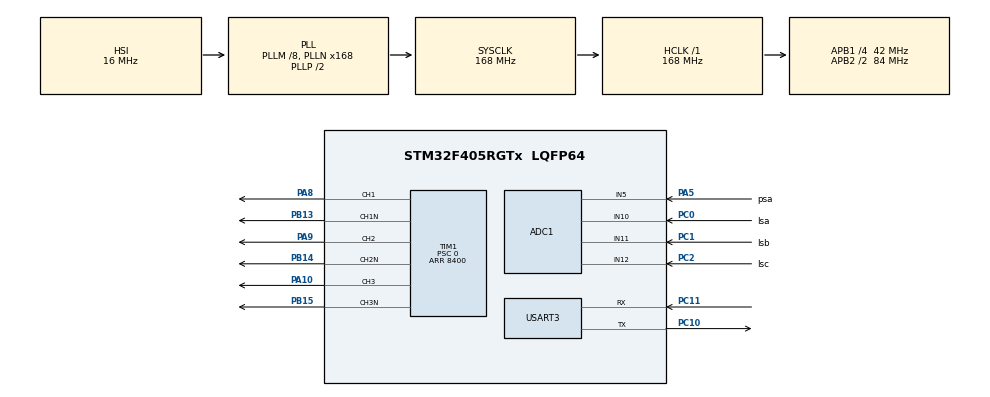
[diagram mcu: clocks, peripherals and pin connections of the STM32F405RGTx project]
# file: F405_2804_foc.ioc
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ADC1.Channel-0\#ChannelRegularConversion=ADC_CHANNEL_10
ADC1.Channel-1\#ChannelInjectedConversion=ADC_CHANNEL_5
ADC1.Channel-2\#ChannelInjectedConversion=ADC_CHANNEL_10
ADC1.Channel-3\#ChannelInjectedConversion=ADC_CHANNEL_11
ADC1.Channel-4\#ChannelInjectedConversion=ADC_CHANNEL_12
ADC1.ExternalTrigInjecConv=ADC_EXTERNALTRIGINJECCONV_T1_CC4
ADC1.ExternalTrigInjecConvEdge=ADC_EXTERNALTRIGINJECCONVEDGE_FALLING
ADC1.InjNumberOfConversion=4
ADC1.InjectedOffset-1\#ChannelInjectedConversion=0
ADC1.InjectedOffset-2\#ChannelInjectedConversion=0
ADC1.InjectedOffset-3\#ChannelInjectedConversion=0
ADC1.InjectedOffset-4\#ChannelInjectedConversion=0
ADC1.InjectedRank-1\#ChannelInjectedConversion=1
ADC1.InjectedRank-2\#ChannelInjectedConversion=2
ADC1.InjectedRank-3\#ChannelInjectedConversion=3
ADC1.InjectedRank-4\#ChannelInjectedConversion=4
ADC1.NbrOfConversionFlag=1
ADC1.Rank-0\#ChannelRegularConversion=1
ADC1.SamplingTime-0\#ChannelRegularConversion=ADC_SAMPLETIME_3CYCLES
ADC1.SamplingTime-1\#ChannelInjectedConversion=ADC_SAMPLETIME_480CYCLES
ADC1.SamplingTime-2\#ChannelInjectedConversion=ADC_SAMPLETIME_15CYCLES
ADC1.SamplingTime-3\#ChannelInjectedConversion=ADC_SAMPLETIME_15CYCLES
ADC1.SamplingTime-4\#ChannelInjectedConversion=ADC_SAMPLETIME_15CYCLES
ADC1.master=1
Dma.Request0=USART3_RX
Dma.Request1=USART3_TX
Dma.USART3_RX.0.Direction=DMA_PERIPH_TO_MEMORY
Dma.USART3_RX.0.FIFOMode=DMA_FIFOMODE_DISABLE
Dma.USART3_RX.0.Instance=DMA1_Stream1
Dma.USART3_RX.0.MemDataAlignment=DMA_MDATAALIGN_BYTE
Dma.USART3_RX.0.MemInc=DMA_MINC_ENABLE
Dma.USART3_RX.0.Mode=DMA_NORMAL
Dma.USART3_RX.0.PeriphDataAlignment=DMA_PDATAALIGN_BYTE
Dma.USART3_RX.0.PeriphInc=DMA_PINC_DISABLE
Dma.USART3_RX.0.Priority=DMA_PRIORITY_LOW
Dma.USART3_TX.1.Direction=DMA_MEMORY_TO_PERIPH
Dma.USART3_TX.1.FIFOMode=DMA_FIFOMODE_DISABLE
Dma.USART3_TX.1.Instance=DMA1_Stream3
Dma.USART3_TX.1.MemDataAlignment=DMA_MDATAALIGN_BYTE
Dma.USART3_TX.1.MemInc=DMA_MINC_ENABLE
Dma.USART3_TX.1.Mode=DMA_NORMAL
Dma.USART3_TX.1.PeriphDataAlignment=DMA_PDATAALIGN_BYTE
Dma.USART3_TX.1.PeriphInc=DMA_PINC_DISABLE
Dma.USART3_TX.1.Priority=DMA_PRIORITY_LOW
Mcu.Family=STM32F4
Mcu.Name=STM32F405RGTx
Mcu.Package=LQFP64
NVIC.ADC_IRQn=true\:0\:0\:false\:false\:true\:true\:true\:true
NVIC.DMA1_Stream1_IRQn=true\:0\:0\:false\:false\:true\:false\:true\:true
NVIC.DMA1_Stream3_IRQn=true\:0\:0\:false\:false\:true\:false\:true\:true
NVIC.PriorityGroup=NVIC_PRIORITYGROUP_4
NVIC.USART3_IRQn=true\:0\:0\:false\:false\:true\:false\:true\:true
PA10.Signal=S_TIM1_CH3
PA13.Mode=Serial_Wire
PA13.Signal=SYS_JTMS-SWDIO
PA14.Mode=Serial_Wire
PA14.Signal=SYS_JTCK-SWCLK
PA5.GPIO_Label=psa
PA5.Signal=ADCx_IN5
PA8.Signal=S_TIM1_CH1
PA9.Signal=S_TIM1_CH2
PB13.Mode=PWM Generation1 CH1 CH1N
PB13.Signal=TIM1_CH1N
PB14.Mode=PWM Generation2 CH2 CH2N
PB14.Signal=TIM1_CH2N
PB15.Mode=PWM Generation3 CH3 CH3N
PB15.Signal=TIM1_CH3N
PC0.GPIO_Label=Isa
PC0.Signal=ADCx_IN10
PC1.GPIO_Label=Isb
PC1.Signal=ADCx_IN11
PC10.Mode=Asynchronous
PC10.Signal=USART3_TX
PC11.Mode=Asynchronous
PC11.Signal=USART3_RX
PC14-OSC32_IN.Mode=LSE-External-Oscillator
PC14-OSC32_IN.Signal=RCC_OSC32_IN
PC15-OSC32_OUT.Mode=LSE-External-Oscillator
PC15-OSC32_OUT.Signal=RCC_OSC32_OUT
PC2.GPIO_Label=Isc
PC2.Signal=ADCx_IN12
PH0-OSC_IN.Mode=HSE-External-Oscillator
PH0-OSC_IN.Signal=RCC_OSC_IN
PH1-OSC_OUT.Mode=HSE-External-Oscillator
PH1-OSC_OUT.Signal=RCC_OSC_OUT
ProjectManager.HeapSize=0x200
ProjectManager.StackSize=0x400
ProjectManager.TargetToolchain=MDK-ARM V5.32
RCC.48MHZClocksFreq_Value=84000000
RCC.AHBFreq_Value=168000000
RCC.APB1CLKDivider=RCC_HCLK_DIV4
RCC.APB1Freq_Value=42000000
RCC.APB1TimFreq_Value=84000000
RCC.APB2CLKDivider=RCC_HCLK_DIV2
RCC.APB2Freq_Value=84000000
RCC.APB2TimFreq_Value=168000000
RCC.CortexFreq_Value=168000000
RCC.HCLKFreq_Value=168000000
RCC.HSE_VALUE=8000000
RCC.HSI_VALUE=16000000
RCC.PLLM=8
RCC.PLLN=168
RCC.SYSCLKFreq_VALUE=168000000
RCC.SYSCLKSource=RCC_SYSCLKSOURCE_PLLCLK
RCC.VCOOutputFreq_Value=336000000
SH.ADCx_IN10.0=ADC1_IN10,IN10
SH.ADCx_IN11.0=ADC1_IN11,IN11
SH.ADCx_IN12.0=ADC1_IN12,IN12
SH.ADCx_IN5.0=ADC1_IN5,IN5
SH.S_TIM1_CH1.0=TIM1_CH1,PWM Generation1 CH1 CH1N
SH.S_TIM1_CH2.0=TIM1_CH2,PWM Generation2 CH2 CH2N
SH.S_TIM1_CH3.0=TIM1_CH3,PWM Generation3 CH3 CH3N
STMicroelectronics.X-CUBE-ALGOBUILD.1.5.0.LibraryCcDSPOoLibraryJjDSPOoLibrary=true
TIM1.AutoReloadPreload=TIM_AUTORELOAD_PRELOAD_ENABLE
TIM1.Channel-PWM\ Generation1\ CH1\ CH1N=TIM_CHANNEL_1
TIM1.Channel-PWM\ Generation2\ CH2\ CH2N=TIM_CHANNEL_2
TIM1.Channel-PWM\ Generation3\ CH3\ CH3N=TIM_CHANNEL_3
TIM1.Channel-PWM\ Generation4\ No\ Output=TIM_CHANNEL_4
TIM1.CounterMode=TIM_COUNTERMODE_CENTERALIGNED1
TIM1.Period=8400
TIM1.Prescaler=0
TIM1.Pulse-PWM\ Generation4\ No\ Output=8300
TIM1.TIM_MasterOutputTrigger=TIM_TRGO_OC4REF
TIM2.AutoReloadPreload=TIM_AUTORELOAD_PRELOAD_ENABLE
TIM2.Period=0xffffffff
TIM2.Prescaler=84-1
USART3.VirtualMode=VM_ASYNC
VP_STMicroelectronics.X-CUBE-ALGOBUILD_VS_DSPOoLibraryJjLibrary_1.5.0_1.5.0.Mode=DSPOoLibraryJjLibrary
VP_TIM1_VS_ClockSourceINT.Mode=Internal
VP_TIM1_VS_no_output4.Mode=PWM Generation4 No Output
VP_TIM2_VS_ClockSourceINT.Mode=Internal
board=custom

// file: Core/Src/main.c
/* USER CODE BEGIN Header */
/**
  ******************************************************************************
  * @file           : main.c
  * @brief          : Main program body
  ******************************************************************************
  * @attention
  *
  * Copyright (c) 2026 STMicroelectronics.
  * All rights reserved.
  *
  * This software is licensed under terms that can be found in the LICENSE file
  * in the root directory of this software component.
  * If no LICENSE file comes with this software, it is provided AS-IS.
  *
  ******************************************************************************
  */
/* USER CODE END Header */
#include "main.h"
#include "adc.h"
#include "dma.h"
#include "tim.h"
#include "usart.h"
#include "gpio.h"

/* USER CODE BEGIN Includes */

#include "adc_sa.h"
#include "uart_TR.h"
#include "foc_cal.h"

#include "arm_math.h"
/* USER CODE END Includes */

/* USER CODE BEGIN PTD */

SystemState_t system_state=IDLE;
/* USER CODE END PTD */

/* USER CODE BEGIN PV */
static uint32_t last_send_time = 0;
static uint32_t current_time = 0;

float theta_m2e_sum_raw=0;
static uint32_t adc_Isa_sum	=	0;
static uint32_t adc_Isb_sum	=	0;
static uint32_t adc_Isc_sum	=	0;

uint16_t adc_Isa_offset	=	2048;
uint16_t adc_Isb_offset	=	2048;
uint16_t adc_Isc_offset	=	2048;

//extern uint16_t CCR1;
//extern uint16_t CCR2;
//extern uint16_t CCR3;
//extern uint16_t sector_debug;
float U_align = 2.0f;
float theta_align = 30.0f * 3.1415926535f / 180.0f;

static float theta_test = 0.0f;

/* USER CODE END PV */

void SystemClock_Config(void);
/* USER CODE BEGIN PFP */

void sector_cal_And_CCR(float U_alpha,float U_beta);

/* USER CODE END PFP */

int main(void)
{

  /* MCU Configuration--------------------------------------------------------*/

  /* Reset of all peripherals, Initializes the Flash interface and the Systick. */
  HAL_Init();

  /* Configure the system clock */
  SystemClock_Config();

  /* Initialize all configured peripherals */
  MX_GPIO_Init();
  MX_DMA_Init();
  MX_ADC1_Init();
  MX_TIM1_Init();
  MX_USART3_UART_Init();
  MX_TIM2_Init();
  /* USER CODE BEGIN 2 */

	UART_TR_Init(&huart3);
	UART_TR_StartReceiving();
	HAL_TIM_Base_Start(&htim2);

	__HAL_TIM_SET_COMPARE(&htim1, TIM_CHANNEL_1, 0);
	__HAL_TIM_SET_COMPARE(&htim1, TIM_CHANNEL_2, 0);
	__HAL_TIM_SET_COMPARE(&htim1, TIM_CHANNEL_3, 0);

	HAL_TIM_PWM_Start(&htim1,TIM_CHANNEL_1);
	HAL_TIMEx_PWMN_Start(&htim1, TIM_CHANNEL_1);

	HAL_TIM_PWM_Start(&htim1,TIM_CHANNEL_2);
	HAL_TIMEx_PWMN_Start(&htim1, TIM_CHANNEL_2);

	HAL_TIM_PWM_Start(&htim1,TIM_CHANNEL_3);
	HAL_TIMEx_PWMN_Start(&htim1, TIM_CHANNEL_3);

	HAL_TIM_PWM_Start(&htim1,TIM_CHANNEL_4);

	HAL_ADCEx_InjectedStart_IT(&hadc1);
	__HAL_ADC_ENABLE_IT(&hadc1,ADC_IT_JEOC);

	while(adc_offset_done == 0)
	{
    // 等待零偏校准真正完成
	}
	//	HAL_Delay(1000);

	sector_cal_And_CCR(U_align * cosf(theta_align),U_align * sinf(theta_align));//吸到电角度30度的位置，
	HAL_Delay(500);

	for (int i=0;i<1000;i++)
	{
		theta_m2e_sum_raw += psa_value_deg;
		HAL_Delay(1);
	}
	theta_m2e = 30.0f + 7*(theta_m2e_sum_raw/1000);
	HAL_Delay(10);
	foc_observer_init( psa_value_rad );
	HAL_Delay(10);
	system_state=RUNNING;

  /* USER CODE END 2 */

  /* Infinite loop */
  /* USER CODE BEGIN WHILE */
while (1)
{
 static uint32_t last_test_time = 0;
//////static float theta_test = 0.0f;
////    /* 开环旋转矢量：1ms更新一次 */
//    if (HAL_GetTick() - last_test_time >= 1)
//    {
//        last_test_time = HAL_GetTick();

//

//        float U_test = 2.0f;

//        float U_alpha_test =
//            U_test * cosf(theta_test);

//        float U_beta_test =
//            U_test * sinf(theta_test);

//     // sector_cal_And_CCR(U_alpha_test,U_beta_test);
//			//sector_cal_And_CCR(1.732f, 1.0f);
//

//
//        theta_test += 0.003f;

//        if (theta_test >= 2.0f * 3.1415926f)
//        {
//            theta_test -= 2.0f * 3.1415926f;
//        }
//			}

//    /* 串口仍然20ms打印一次 */
    if (HAL_GetTick() - last_send_time >= 20)
    {
        last_send_time = HAL_GetTick();

        UART_printf(
			"Id:%.3f ,%.3f,%.3f\r\n",
						I_d,I_q,speed_rpm

					);
    }
//
	}

  /* USER CODE END 3 */
}

void SystemClock_Config(void)
{
  RCC_OscInitTypeDef RCC_OscInitStruct = {0};
  RCC_ClkInitTypeDef RCC_ClkInitStruct = {0};

  /** Configure the main internal regulator output voltage
  */
  __HAL_RCC_PWR_CLK_ENABLE();
  __HAL_PWR_VOLTAGESCALING_CONFIG(PWR_REGULATOR_VOLTAGE_SCALE1);

  /** Initializes the RCC Oscillators according to the specified parameters
  * in the RCC_OscInitTypeDef structure.
  */
  RCC_OscInitStruct.OscillatorType = RCC_OSCILLATORTYPE_HSI;
  RCC_OscInitStruct.HSIState = RCC_HSI_ON;
  RCC_OscInitStruct.HSICalibrationValue = RCC_HSICALIBRATION_DEFAULT;
  RCC_OscInitStruct.PLL.PLLState = RCC_PLL_ON;
  RCC_OscInitStruct.PLL.PLLSource = RCC_PLLSOURCE_HSI;
  RCC_OscInitStruct.PLL.PLLM = 8;
  RCC_OscInitStruct.PLL.PLLN = 168;
  RCC_OscInitStruct.PLL.PLLP = RCC_PLLP_DIV2;
  RCC_OscInitStruct.PLL.PLLQ = 4;
  if (HAL_RCC_OscConfig(&RCC_OscInitStruct) != HAL_OK)
  {
    Error_Handler();
  }

  /** Initializes the CPU, AHB and APB buses clocks
  */
  RCC_ClkInitStruct.ClockType = RCC_CLOCKTYPE_HCLK|RCC_CLOCKTYPE_SYSCLK
                              |RCC_CLOCKTYPE_PCLK1|RCC_CLOCKTYPE_PCLK2;
  RCC_ClkInitStruct.SYSCLKSource = RCC_SYSCLKSOURCE_PLLCLK;
  RCC_ClkInitStruct.AHBCLKDivider = RCC_SYSCLK_DIV1;
  RCC_ClkInitStruct.APB1CLKDivider = RCC_HCLK_DIV4;
  RCC_ClkInitStruct.APB2CLKDivider = RCC_HCLK_DIV2;

  if (HAL_RCC_ClockConfig(&RCC_ClkInitStruct, FLASH_LATENCY_5) != HAL_OK)
  {
    Error_Handler();
  }
}

void Error_Handler(void)
{
  __disable_irq();
  while (1)
  {
  }
}
